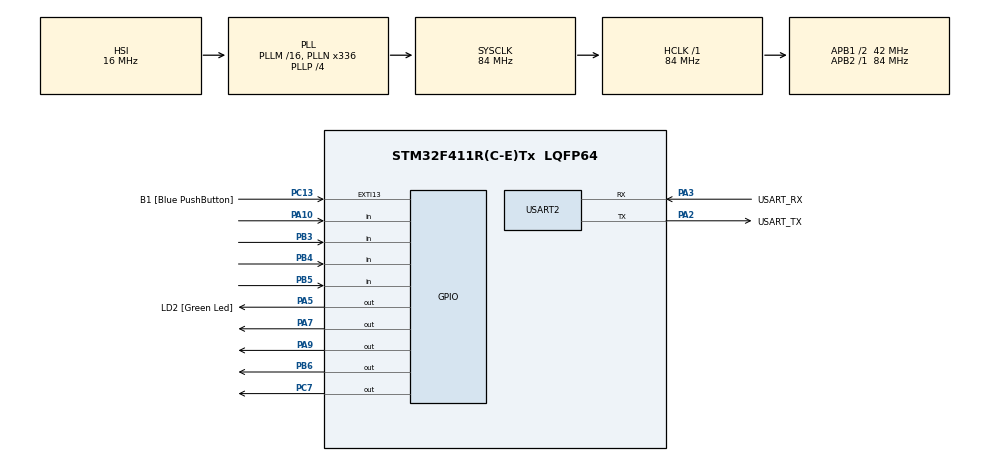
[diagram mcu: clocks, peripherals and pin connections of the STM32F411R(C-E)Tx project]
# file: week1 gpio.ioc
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Mcu.Family=STM32F4
Mcu.Name=STM32F411R(C-E)Tx
Mcu.Package=LQFP64
NVIC.PriorityGroup=NVIC_PRIORITYGROUP_0
PA10.Signal=GPIO_Input
PA13.GPIO_Label=TMS
PA13.Mode=Serial_Wire
PA13.Signal=SYS_JTMS-SWDIO
PA14.GPIO_Label=TCK
PA14.Mode=Serial_Wire
PA14.Signal=SYS_JTCK-SWCLK
PA2.GPIO_Label=USART_TX
PA2.Mode=Asynchronous
PA2.Signal=USART2_TX
PA3.GPIO_Label=USART_RX
PA3.Mode=Asynchronous
PA3.Signal=USART2_RX
PA5.GPIO_Label=LD2 [Green Led]
PA5.Signal=GPIO_Output
PA7.Signal=GPIO_Output
PA9.Signal=GPIO_Output
PB3.Signal=GPIO_Input
PB4.Signal=GPIO_Input
PB5.Signal=GPIO_Input
PB6.Signal=GPIO_Output
PC13-ANTI_TAMP.GPIO_Label=B1 [Blue PushButton]
PC13-ANTI_TAMP.GPIO_ModeDefaultEXTI=GPIO_MODE_IT_FALLING
PC13-ANTI_TAMP.Signal=GPXTI13
PC14-OSC32_IN.Mode=LSE-External-Oscillator
PC14-OSC32_IN.Signal=RCC_OSC32_IN
PC15-OSC32_OUT.Mode=LSE-External-Oscillator
PC15-OSC32_OUT.Signal=RCC_OSC32_OUT
PC7.Signal=GPIO_Output
PH0\ -\ OSC_IN.Mode=HSE-External-Clock-Source
PH0\ -\ OSC_IN.Signal=RCC_OSC_IN
PH1\ -\ OSC_OUT.Mode=HSE-External-Clock-Source
PH1\ -\ OSC_OUT.Signal=RCC_OSC_OUT
ProjectManager.HeapSize=0x200
ProjectManager.StackSize=0x400
ProjectManager.TargetToolchain=STM32CubeIDE
RCC.48MHZClocksFreq_Value=84000000
RCC.AHBFreq_Value=84000000
RCC.APB1CLKDivider=RCC_HCLK_DIV2
RCC.APB1Freq_Value=42000000
RCC.APB1TimFreq_Value=84000000
RCC.APB2Freq_Value=84000000
RCC.APB2TimFreq_Value=84000000
RCC.CortexFreq_Value=84000000
RCC.FLatency-AdvancedSettings=FLASH_LATENCY_2
RCC.HCLKFreq_Value=84000000
RCC.HSE_VALUE=8000000
RCC.HSI_VALUE=16000000
RCC.PLLN=336
RCC.PLLP=RCC_PLLP_DIV4
RCC.SYSCLKFreq_VALUE=84000000
RCC.SYSCLKSource=RCC_SYSCLKSOURCE_PLLCLK
RCC.VCOOutputFreq_Value=336000000
USART2.VirtualMode=VM_ASYNC
board=NUCLEO-F411RE

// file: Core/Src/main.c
/* USER CODE BEGIN Header */
/**
  ******************************************************************************
  * @file           : main.c
  * @brief          : Main program body
  ******************************************************************************
  * @attention
  *
  * <h2><center>&copy; Copyright (c) 2021 STMicroelectronics.
  * All rights reserved.</center></h2>
  *
  * This software component is licensed by ST under BSD 3-Clause license,
  * the "License"; You may not use this file except in compliance with the
  * License. You may obtain a copy of the License at:
  *                        opensource.org/licenses/BSD-3-Clause
  *
  ******************************************************************************
  */
/* USER CODE END Header */
#include "main.h"

UART_HandleTypeDef huart2;

void SystemClock_Config(void);
static void MX_GPIO_Init(void);
static void MX_USART2_UART_Init(void);

int main(void)
{

  /* MCU Configuration--------------------------------------------------------*/

  /* Reset of all peripherals, Initializes the Flash interface and the Systick. */
  HAL_Init();

  /* Configure the system clock */
  SystemClock_Config();

  /* Initialize all configured peripherals */
  MX_GPIO_Init();
  MX_USART2_UART_Init();
  /* USER CODE BEGIN 2 */
  //------------------------------------------------------
   GPIO_PinState SwitchState1[2];  //Now, Previous
   GPIO_PinState SwitchState2[2];  //Now, Previous
   GPIO_PinState SwitchState3[2];  //Now, Previous
   uint16_t LED1_Half_Period = 1000;  // 2 Hz   500 1hz
   uint32_t TimeStamp1 = 0;
   uint32_t ButtonTimeStamp1 = 0;
   uint16_t LED2_Half_Period = 1000;  // 1 Hz
   uint32_t TimeStamp2 = 0;
   uint32_t ButtonTimeStamp2 = 0;
   uint16_t LED3_Half_Period = 500;  // 2 Hz
   uint32_t TimeStamp3 = 0;
   uint32_t ButtonTimeStamp3 = 0;
   uint8_t ex3 = 1;
  //------------------------------------------------------
  /* USER CODE END 2 */

  /* Infinite loop */
  /* USER CODE BEGIN WHILE */
  while (1)
  {
   if(HAL_GetTick() - ButtonTimeStamp1 >= 100)
   {
    ButtonTimeStamp1 = HAL_GetTick();

    SwitchState1[0] = HAL_GPIO_ReadPin(GPIOA, GPIO_PIN_10);
       //Press = Low , No = High
       if(SwitchState1[0] == GPIO_PIN_SET && SwitchState1[1] == GPIO_PIN_RESET)
       // set = high , reset = low
       {
        //Change Half Period of LED 1
        if(LED1_Half_Period == 500)
        {
         LED1_Half_Period = 250;
        }
        else if(LED1_Half_Period == 1000)
        {
         LED1_Half_Period = 500;
        }
        else if(LED1_Half_Period == 250)
        {
         LED1_Half_Period = 1000/6;
        }
        else
        {
         LED1_Half_Period = 1000;
        }
       }
       SwitchState1[1] = SwitchState1[0];
   }
   if(HAL_GetTick() - ButtonTimeStamp2 >= 100)  // ex2
     {
       ButtonTimeStamp2 = HAL_GetTick();

       SwitchState2[0] = HAL_GPIO_ReadPin(GPIOB, GPIO_PIN_3);
          //Press = Low , No = High
          if(SwitchState2[0] == GPIO_PIN_SET && SwitchState2[1] == GPIO_PIN_RESET)
          // set = high , reset = low
          {
           //Change Half Period of LED 1
        	  if(HAL_GPIO_ReadPin(GPIOC, GPIO_PIN_7) == GPIO_PIN_SET)
        	     {
        	      HAL_GPIO_WritePin(GPIOC, GPIO_PIN_7, GPIO_PIN_RESET);
        	     }
        	  else
        	     {
        	      HAL_GPIO_WritePin(GPIOC, GPIO_PIN_7, GPIO_PIN_SET);
        	     }
          }
          SwitchState2[1] = SwitchState2[0];
     }
   if(HAL_GetTick() - ButtonTimeStamp3 >= 100)	//ex3
     {
       ButtonTimeStamp3 = HAL_GetTick();

       SwitchState3[0] = HAL_GPIO_ReadPin(GPIOB, GPIO_PIN_5);
          //Press = Low , No = High
          if(SwitchState3[0] == GPIO_PIN_SET && SwitchState3[1] == GPIO_PIN_RESET)
          // set = high , reset = low
          {
        	  if (ex3 == 1)
        	  {
        		  ex3=0;
        	  }
        	  else if (ex3==0)
        	  {
        		  ex3=1;
        	  }
          }
         SwitchState3[1] = SwitchState3[0];
      }

   //Run LED
   if(HAL_GetTick() - TimeStamp1 >= LED1_Half_Period) //millisecond now time //ex1
   {
    TimeStamp1 = HAL_GetTick();
    if(HAL_GPIO_ReadPin(GPIOA, GPIO_PIN_9) == GPIO_PIN_SET)
    {
     HAL_GPIO_WritePin(GPIOA, GPIO_PIN_9, GPIO_PIN_RESET);
    }
    else
    {
     HAL_GPIO_WritePin(GPIOA, GPIO_PIN_9, GPIO_PIN_SET);
    }
   }
   if (ex3 == 1)
   {
	   if(HAL_GetTick() - TimeStamp3 >= LED3_Half_Period) //millisecond now time //ex3
	      {
	       TimeStamp3 = HAL_GetTick();
	       if(HAL_GPIO_ReadPin(GPIOB, GPIO_PIN_6) == GPIO_PIN_SET)
	       {
	        HAL_GPIO_WritePin(GPIOB, GPIO_PIN_6, GPIO_PIN_RESET);
	        LED3_Half_Period = 500;
	       }
	       else
	       {
	        HAL_GPIO_WritePin(GPIOB, GPIO_PIN_6, GPIO_PIN_SET);
	        LED3_Half_Period = 1500;
	       }
	      }
   }
   else if (ex3 == 0)
   {
	   if(HAL_GetTick() - TimeStamp3 >= LED3_Half_Period) //millisecond now time //ex3
   {
    TimeStamp3 = HAL_GetTick();
    if(HAL_GPIO_ReadPin(GPIOB, GPIO_PIN_6) == GPIO_PIN_SET)
    {
     HAL_GPIO_WritePin(GPIOB, GPIO_PIN_6, GPIO_PIN_RESET);
     LED3_Half_Period = 1500;
    }
    else
    {
     HAL_GPIO_WritePin(GPIOB, GPIO_PIN_6, GPIO_PIN_SET);
     LED3_Half_Period = 500;
    }
   }

   }

    /* USER CODE END WHILE */

  }
}

void SystemClock_Config(void)
{
  RCC_OscInitTypeDef RCC_OscInitStruct = {0};
  RCC_ClkInitTypeDef RCC_ClkInitStruct = {0};

  /** Configure the main internal regulator output voltage
  */
  __HAL_RCC_PWR_CLK_ENABLE();
  __HAL_PWR_VOLTAGESCALING_CONFIG(PWR_REGULATOR_VOLTAGE_SCALE1);
  /** Initializes the RCC Oscillators according to the specified parameters
  * in the RCC_OscInitTypeDef structure.
  */
  RCC_OscInitStruct.OscillatorType = RCC_OSCILLATORTYPE_HSI;
  RCC_OscInitStruct.HSIState = RCC_HSI_ON;
  RCC_OscInitStruct.HSICalibrationValue = RCC_HSICALIBRATION_DEFAULT;
  RCC_OscInitStruct.PLL.PLLState = RCC_PLL_ON;
  RCC_OscInitStruct.PLL.PLLSource = RCC_PLLSOURCE_HSI;
  RCC_OscInitStruct.PLL.PLLM = 16;
  RCC_OscInitStruct.PLL.PLLN = 336;
  RCC_OscInitStruct.PLL.PLLP = RCC_PLLP_DIV4;
  RCC_OscInitStruct.PLL.PLLQ = 4;
  if (HAL_RCC_OscConfig(&RCC_OscInitStruct) != HAL_OK)
  {
    Error_Handler();
  }
  /** Initializes the CPU, AHB and APB buses clocks
  */
  RCC_ClkInitStruct.ClockType = RCC_CLOCKTYPE_HCLK|RCC_CLOCKTYPE_SYSCLK
                              |RCC_CLOCKTYPE_PCLK1|RCC_CLOCKTYPE_PCLK2;
  RCC_ClkInitStruct.SYSCLKSource = RCC_SYSCLKSOURCE_PLLCLK;
  RCC_ClkInitStruct.AHBCLKDivider = RCC_SYSCLK_DIV1;
  RCC_ClkInitStruct.APB1CLKDivider = RCC_HCLK_DIV2;
  RCC_ClkInitStruct.APB2CLKDivider = RCC_HCLK_DIV1;

  if (HAL_RCC_ClockConfig(&RCC_ClkInitStruct, FLASH_LATENCY_2) != HAL_OK)
  {
    Error_Handler();
  }
}

static void MX_USART2_UART_Init(void)
{

  huart2.Instance = USART2;
  huart2.Init.BaudRate = 115200;
  huart2.Init.WordLength = UART_WORDLENGTH_8B;
  huart2.Init.StopBits = UART_STOPBITS_1;
  huart2.Init.Parity = UART_PARITY_NONE;
  huart2.Init.Mode = UART_MODE_TX_RX;
  huart2.Init.HwFlowCtl = UART_HWCONTROL_NONE;
  huart2.Init.OverSampling = UART_OVERSAMPLING_16;
  if (HAL_UART_Init(&huart2) != HAL_OK)
  {
    Error_Handler();
  }

}

static void MX_GPIO_Init(void)
{
  GPIO_InitTypeDef GPIO_InitStruct = {0};

  /* GPIO Ports Clock Enable */
  __HAL_RCC_GPIOC_CLK_ENABLE();
  __HAL_RCC_GPIOH_CLK_ENABLE();
  __HAL_RCC_GPIOA_CLK_ENABLE();
  __HAL_RCC_GPIOB_CLK_ENABLE();

  /*Configure GPIO pin Output Level */
  HAL_GPIO_WritePin(GPIOA, LD2_Pin|GPIO_PIN_7|GPIO_PIN_9, GPIO_PIN_RESET);

  /*Configure GPIO pin Output Level */
  HAL_GPIO_WritePin(GPIOC, GPIO_PIN_7, GPIO_PIN_RESET);

  /*Configure GPIO pin Output Level */
  HAL_GPIO_WritePin(GPIOB, GPIO_PIN_6, GPIO_PIN_RESET);

  /*Configure GPIO pin : B1_Pin */
  GPIO_InitStruct.Pin = B1_Pin;
  GPIO_InitStruct.Mode = GPIO_MODE_IT_FALLING;
  GPIO_InitStruct.Pull = GPIO_NOPULL;
  HAL_GPIO_Init(B1_GPIO_Port, &GPIO_InitStruct);

  /*Configure GPIO pins : LD2_Pin PA7 PA9 */
  GPIO_InitStruct.Pin = LD2_Pin|GPIO_PIN_7|GPIO_PIN_9;
  GPIO_InitStruct.Mode = GPIO_MODE_OUTPUT_PP;
  GPIO_InitStruct.Pull = GPIO_NOPULL;
  GPIO_InitStruct.Speed = GPIO_SPEED_FREQ_LOW;
  HAL_GPIO_Init(GPIOA, &GPIO_InitStruct);

  /*Configure GPIO pin : PC7 */
  GPIO_InitStruct.Pin = GPIO_PIN_7;
  GPIO_InitStruct.Mode = GPIO_MODE_OUTPUT_PP;
  GPIO_InitStruct.Pull = GPIO_NOPULL;
  GPIO_InitStruct.Speed = GPIO_SPEED_FREQ_LOW;
  HAL_GPIO_Init(GPIOC, &GPIO_InitStruct);

  /*Configure GPIO pin : PA10 */
  GPIO_InitStruct.Pin = GPIO_PIN_10;
  GPIO_InitStruct.Mode = GPIO_MODE_INPUT;
  GPIO_InitStruct.Pull = GPIO_NOPULL;
  HAL_GPIO_Init(GPIOA, &GPIO_InitStruct);

  /*Configure GPIO pins : PB3 PB4 PB5 */
  GPIO_InitStruct.Pin = GPIO_PIN_3|GPIO_PIN_4|GPIO_PIN_5;
  GPIO_InitStruct.Mode = GPIO_MODE_INPUT;
  GPIO_InitStruct.Pull = GPIO_NOPULL;
  HAL_GPIO_Init(GPIOB, &GPIO_InitStruct);

  /*Configure GPIO pin : PB6 */
  GPIO_InitStruct.Pin = GPIO_PIN_6;
  GPIO_InitStruct.Mode = GPIO_MODE_OUTPUT_PP;
  GPIO_InitStruct.Pull = GPIO_NOPULL;
  GPIO_InitStruct.Speed = GPIO_SPEED_FREQ_LOW;
  HAL_GPIO_Init(GPIOB, &GPIO_InitStruct);

}

void Error_Handler(void)
{
  __disable_irq();
  while (1)
  {
  }
}

/************************ (C) COPYRIGHT STMicroelectronics *****END OF FILE****/
